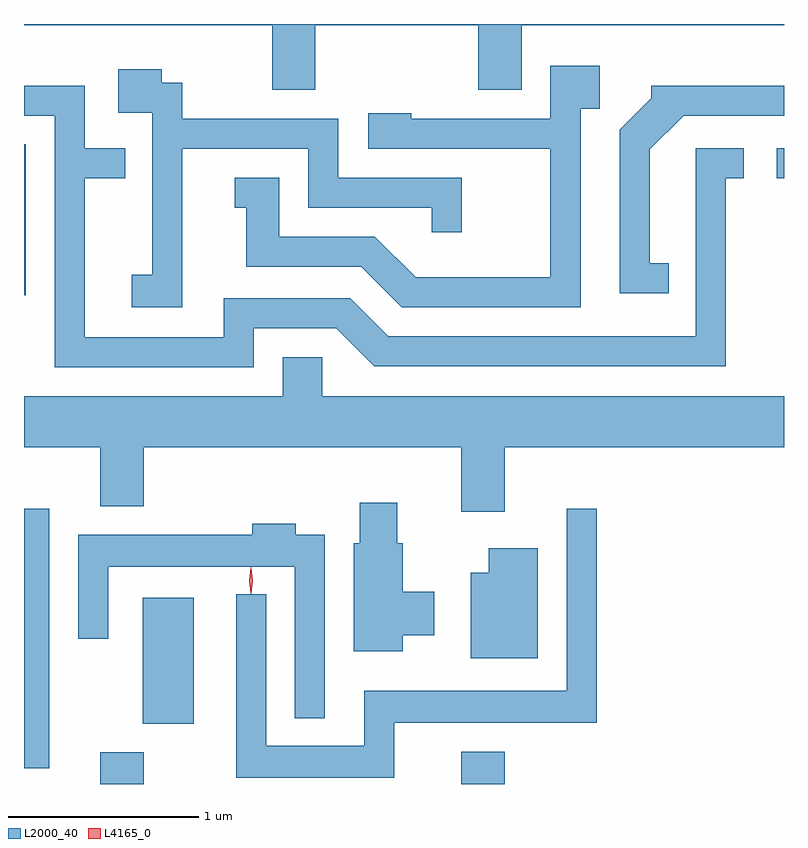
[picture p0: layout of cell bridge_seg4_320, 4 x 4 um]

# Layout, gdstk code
import gdstk
lib = gdstk.Library(unit=1e-6, precision=1e-09)
def R(c, l, rs):  # rectangles x0, y0, x1, y1
    for r in rs: c.add(gdstk.rectangle(r[:2], r[2:], *l))
def P(c, l, *ps):  # polygons
    for p in ps: c.add(gdstk.Polygon(p, *l))
L2000_40 = (2000, 40)
L4165_0 = (4165, 0)

bridge_seg4_320 = lib.new_cell('bridge_seg4_320')
R(bridge_seg4_320, L2000_40, [(523.991,1310.723,524.219,1310.889), (525.891,1310.723,526.119,1310.894), (523.59,1310.806,523.724,1312.173), (524.216,1311.041,524.484,1311.704), (523.59,1313.296,523.599,1314.089), (527.553,1313.911,527.59,1314.069)])
P(bridge_seg4_320, L2000_40, [(525.124,1314.716),(525.981,1314.716),(525.981,1314.376),(526.209,1314.376),(526.209,1314.716),(527.59,1314.716),(527.59,1314.723),(523.59,1314.723),(523.59,1314.716),(524.896,1314.716),(524.896,1314.376),(525.124,1314.376)],
  [(526.519,1314.276),(526.619,1314.276),(526.619,1314.504),(526.361,1314.504),(526.361,1314.224),(525.629,1314.224),(525.629,1314.254),(525.401,1314.254),(525.401,1314.066),(526.361,1314.066),(526.361,1313.389),(525.652,1313.389),(525.437,1313.604),(524.934,1313.604),(524.934,1313.914),(524.698,1313.914),(524.698,1313.756),(524.761,1313.756),(524.761,1313.446),(525.364,1313.446),(525.579,1313.231),(526.519,1313.231)],
  [(524.424,1314.066),(525.086,1314.066),(525.086,1313.756),(525.736,1313.756),(525.736,1313.628),(525.894,1313.628),(525.894,1313.914),(525.244,1313.914),(525.244,1314.224),(524.424,1314.224),(524.424,1314.414),(524.314,1314.414),(524.314,1314.484),(524.086,1314.484),(524.086,1314.256),(524.266,1314.256),(524.266,1313.404),(524.156,1313.404),(524.156,1313.231),(524.424,1313.231)],
  [(526.983,1313.464),(526.884,1313.464),(526.884,1314.064),(527.062,1314.241),(527.59,1314.241),(527.59,1314.399),(526.891,1314.399),(526.891,1314.332),(526.726,1314.167),(526.726,1313.306),(526.983,1313.306)],
  [(524.799,1313.121),(525.234,1313.121),(525.434,1312.921),(527.284,1312.921),(527.284,1313.911),(527.378,1313.911),(527.378,1314.069),(527.126,1314.069),(527.126,1313.079),(525.507,1313.079),(525.307,1313.279),(524.641,1313.279),(524.641,1313.074),(523.909,1313.074),(523.909,1313.911),(524.123,1313.911),(524.123,1314.069),(523.909,1314.069),(523.909,1314.399),(523.59,1314.399),(523.59,1314.241),(523.751,1314.241),(523.751,1312.916),(524.799,1312.916)],
  [(526.119,1312.496),(527.59,1312.496),(527.59,1312.764),(525.159,1312.764),(525.159,1312.969),(524.951,1312.969),(524.951,1312.764),(523.59,1312.764),(523.59,1312.496),(523.991,1312.496),(523.991,1312.186),(524.219,1312.186),(524.219,1312.496),(525.891,1312.496),(525.891,1312.156),(526.119,1312.156)],
  [(525.584,1311.506),(525.749,1311.506),(525.749,1311.734),(525.584,1311.734),(525.584,1311.989),(525.554,1311.989),(525.554,1312.204),(525.356,1312.204),(525.356,1311.989),(525.326,1311.989),(525.326,1311.421),(525.584,1311.421)],
  [(525.539,1311.046),(526.604,1311.046),(526.604,1312.173),(526.446,1312.173),(526.446,1311.214),(525.381,1311.214),(525.381,1310.924),(524.864,1310.924),(524.864,1311.723),(524.706,1311.723),(524.706,1310.756),(525.539,1310.756)],
  [(525.174,1312.034),(525.019,1312.034),(525.019,1312.094),(524.791,1312.094),(524.791,1312.034),(523.876,1312.034),(523.876,1311.488),(524.034,1311.488),(524.034,1311.866),(525.016,1311.866),(525.016,1311.068),(525.174,1311.068)],
  [(526.294,1311.964),(526.036,1311.964),(526.036,1311.834),(525.941,1311.834),(525.941,1311.386),(526.294,1311.386)])
P(bridge_seg4_320, L4165_0, [(524.784,1311.727),(524.775,1311.794),(524.784,1311.86),(524.785,1311.86),(524.785,1311.86),(524.795,1311.794),(524.785,1311.727),(524.785,1311.727)],
  [(524.784,1311.724),(524.775,1311.793),(524.784,1311.862),(524.785,1311.863),(524.785,1311.862),(524.795,1311.793),(524.785,1311.724),(524.785,1311.724)])

lib.write_gds('bridge_seg4_320.gds')
